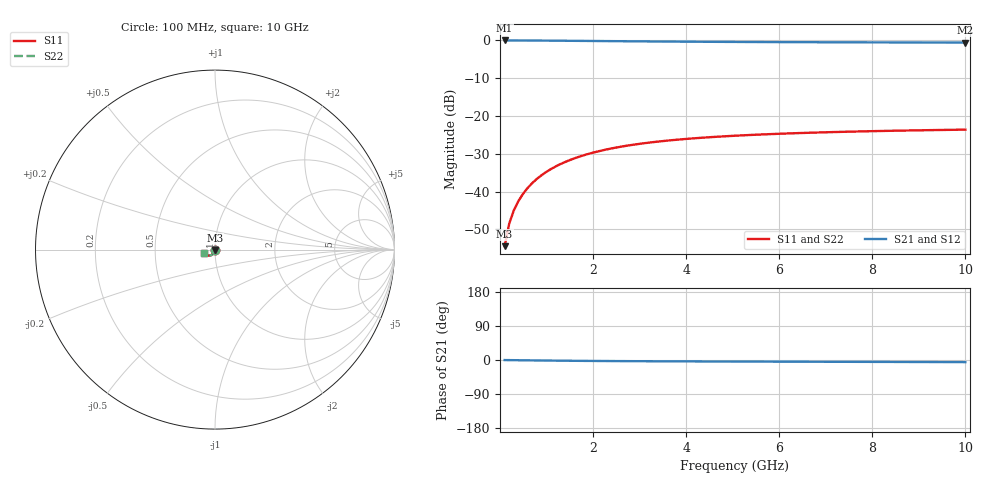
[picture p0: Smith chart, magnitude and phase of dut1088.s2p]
! Touchstone file exported from HFSS 2024.1.0
!  File:  C:/UserFiles/LocalFiles/RDL_TSV_Batchsim/temp_TSV1_1088_1780066168.aedt
!  Generated:  10:53:55 PM May 29, 2026
!  Design:  TSV1
!  Project:  temp_TSV1_1088_1780066168
!  Setup:  Setup1
!  Solution:  Sweep
! Variables:
!  dtsv = 13.94um
!  hbump = 3um
!  htsv = 85.4um
!  lrdl = 252.1521522um
!  p = 40
!  p1 = 48.56um
!  t = 500um
!  trdl = 3um
!  wrdl = 24.89489489um
# GHz S MA R 50.000000
! Terminal data exported
! Port[1] = TSV22_T1
! Port[2] = TSV22_T2
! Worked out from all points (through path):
!   100 points, 100 MHz to 10 GHz, reference 50 ohm
!   highest |S21| = 0.00 dB at 100 MHz (marker M1); lowest = -0.6 dB at 10 GHz (marker M2)
!   lowest |S11| = -54.5 dB at 100 MHz (marker M3), VSWR 1.00, Z = 50 - j0.189 ohm
!   |S11| at or under -10 dB: start of sweep to end of sweep
!   |S22| runs from -54.5 to -23.6 dB; largest |S21 - S12| = 2e-15
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0.1  0.001891 -89.0  0.9998 -0.2  0.9998 -0.2  0.001891 -89.0
! Gamma 0 0 0 0
! Port Impedance 50 0 50 0
0.2  0.003781 -91.8  0.9997 -0.3  0.9997 -0.3  0.003781 -91.8
0.3  0.005669 -93.9  0.9994 -0.5  0.9994 -0.5  0.005669 -93.9
0.4  0.007547 -95.8  0.999 -0.6  0.999 -0.6  0.007547 -95.8
0.5  0.009407 -97.6  0.9985 -0.8  0.9985 -0.8  0.009407 -97.6
0.6  0.01124 -99.3  0.9979 -0.9  0.9979 -0.9  0.01124 -99.3
0.7  0.01305 -101.0  0.9972 -1.0  0.9972 -1.0  0.01305 -101.0
0.8  0.01482 -102.7  0.9965 -1.2  0.9965 -1.2  0.01482 -102.7
0.9  0.01656 -104.3  0.9956 -1.3  0.9956 -1.3  0.01656 -104.3
1.1  0.01991 -107.5  0.9938 -1.6  0.9938 -1.6  0.01991 -107.5
1.4  0.02461 -112.0  0.9907 -1.9  0.9907 -1.9  0.02461 -112.0
1.6  0.0275 -114.7  0.9884 -2.1  0.9884 -2.1  0.0275 -114.7
1.8  0.0302 -117.4  0.9861 -2.3  0.9861 -2.3  0.0302 -117.4
2.1  0.03391 -121.1  0.9826 -2.6  0.9826 -2.6  0.03391 -121.1
2.5  0.03824 -125.5  0.978 -2.9  0.978 -2.9  0.03824 -125.5
2.9  0.04195 -129.4  0.9737 -3.1  0.9737 -3.1  0.04195 -129.4
3.4  0.04586 -133.7  0.9687 -3.4  0.9687 -3.4  0.04586 -133.7
4.2  0.05081 -139.4  0.9619 -3.7  0.9619 -3.7  0.05081 -139.4
5.1  0.05499 -144.6  0.9557 -4.1  0.9557 -4.1  0.05499 -144.6
6.7  0.06013 -151.5  0.9476 -4.6  0.9476 -4.6  0.06013 -151.5
8.4  0.06368 -157.0  0.9418 -5.1  0.9418 -5.1  0.06369 -157.0
10  0.06597 -161.0  0.9379 -5.6  0.9379 -5.6  0.06597 -161.0
